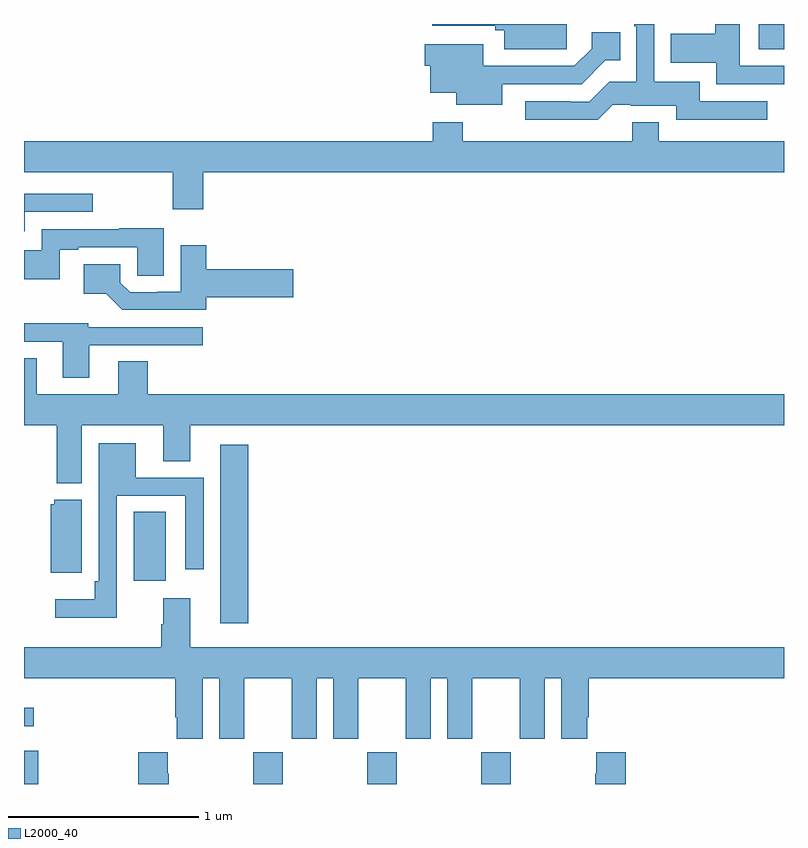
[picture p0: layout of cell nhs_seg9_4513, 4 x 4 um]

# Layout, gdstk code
import gdstk
lib = gdstk.Library(unit=1e-6, precision=1e-09)
def R(c, l, rs):  # rectangles x0, y0, x1, y1
    for r in rs: c.add(gdstk.rectangle(r[:2], r[2:], *l))
def A(c, l, x, y, w, h, nx, ny, dx, dy):  # array of equal rectangles
    R(c, l, [(x+i*dx, y+j*dy, x+i*dx+w, y+j*dy+h) for i in range(nx) for j in range(ny)])
def P(c, l, *ps):  # polygons
    for p in ps: c.add(gdstk.Polygon(p, *l))
L2000_40 = (2000, 40)

nhs_seg9_4513 = lib.new_cell('nhs_seg9_4513')
A(nhs_seg9_4513, L2000_40, 370.207, 1226.5, 0.155, 0.168, 3, 1, 0.6, 0)
R(nhs_seg9_4513, L2000_40, [(369,1226.5,369.074,1226.674), (369,1226.804,369.052,1226.902), (370.034,1227.345,370.181,1228.285), (369.578,1227.57,369.745,1227.932), (372.867,1230.368,373,1230.5)])
P(nhs_seg9_4513, L2000_40, [(372.099,1230.075),(372.193,1230.075),(372.193,1230.071),(372.434,1230.071),(372.434,1229.997),(372.913,1229.997),(372.913,1230.093),(372.556,1230.093),(372.556,1230.196),(372.318,1230.196),(372.318,1230.5),(372.212,1230.5),(372.212,1230.488),(372.222,1230.488),(372.222,1230.195),(372.081,1230.195),(371.976,1230.09),(371.876,1230.09),(371.876,1230.093),(371.637,1230.093),(371.637,1229.996),(372.02,1229.996)],
  [(371.857,1230.5),(371.148,1230.5),(371.148,1230.492),(371.481,1230.492),(371.481,1230.467),(371.528,1230.467),(371.528,1230.368),(371.857,1230.368)],
  [(373,1230.279),(372.766,1230.279),(372.766,1230.5),(372.637,1230.5),(372.637,1230.448),(372.403,1230.448),(372.403,1230.296),(372.644,1230.296),(372.644,1230.183),(373,1230.183)],
  [(371.518,1230.183),(371.935,1230.183),(372.06,1230.308),(372.137,1230.308),(372.137,1230.457),(371.987,1230.457),(371.987,1230.371),(371.895,1230.279),(371.416,1230.279),(371.416,1230.394),(371.108,1230.394),(371.108,1230.28),(371.138,1230.28),(371.138,1230.137),(371.276,1230.137),(371.276,1230.074),(371.518,1230.074)],
  [(369.944,1229.72),(373,1229.72),(373,1229.884),(372.34,1229.884),(372.34,1229.983),(372.2,1229.983),(372.2,1229.884),(371.31,1229.884),(371.31,1229.983),(371.15,1229.983),(371.15,1229.884),(369,1229.884),(369,1229.72),(369.784,1229.72),(369.784,1229.526),(369.944,1229.526)],
  [(369.004,1229.511),(369.361,1229.511),(369.361,1229.607),(369,1229.607),(369,1229.408),(369.004,1229.408)],
  [(369.189,1229.313),(369.286,1229.313),(369.286,1229.325),(369.597,1229.325),(369.597,1229.176),(369.736,1229.176),(369.736,1229.426),(369.5,1229.426),(369.5,1229.421),(369.093,1229.421),(369.093,1229.308),(369,1229.308),(369,1229.156),(369.189,1229.156)],
  [(369.959,1229.063),(370.417,1229.063),(370.417,1229.21),(369.959,1229.21),(369.959,1229.335),(369.824,1229.335),(369.824,1229.091),(369.7,1229.091),(369.7,1229.088),(369.558,1229.088),(369.507,1229.139),(369.507,1229.236),(369.315,1229.236),(369.315,1229.081),(369.432,1229.081),(369.518,1228.995),(369.959,1228.995)],
  [(369.343,1228.809),(369.94,1228.809),(369.94,1228.905),(369.339,1228.905),(369.339,1228.926),(369,1228.926),(369,1228.827),(369.203,1228.827),(369.203,1228.638),(369.343,1228.638)],
  [(369.304,1228.388),(369.734,1228.388),(369.734,1228.198),(369.874,1228.198),(369.874,1228.388),(373,1228.388),(373,1228.552),(369.65,1228.552),(369.65,1228.724),(369.497,1228.724),(369.497,1228.552),(369.067,1228.552),(369.067,1228.742),(369,1228.742),(369,1228.388),(369.173,1228.388),(369.173,1228.082),(369.304,1228.082)],
  [(369.489,1228.017),(369.849,1228.017),(369.849,1227.63),(369.945,1227.63),(369.945,1228.113),(369.589,1228.113),(369.589,1228.294),(369.393,1228.294),(369.393,1227.568),(369.373,1227.568),(369.373,1227.472),(369.165,1227.472),(369.165,1227.374),(369.489,1227.374)],
  [(369.304,1227.997),(369.159,1227.997),(369.159,1227.972),(369.14,1227.972),(369.14,1227.611),(369.304,1227.611)],
  [(369.94,1227.056),(370.028,1227.056),(370.028,1226.739),(370.159,1226.739),(370.159,1227.056),(370.409,1227.056),(370.409,1226.739),(370.54,1226.739),(370.54,1227.056),(370.628,1227.056),(370.628,1226.739),(370.759,1226.739),(370.759,1227.056),(371.009,1227.056),(371.009,1226.739),(371.14,1226.739),(371.14,1227.056),(371.228,1227.056),(371.228,1226.739),(371.359,1226.739),(371.359,1227.056),(371.609,1227.056),(371.609,1226.739),(371.74,1226.739),(371.74,1227.056),(371.828,1227.056),(371.828,1226.739),(371.965,1226.739),(371.965,1226.851),(371.972,1226.851),(371.972,1227.056),(373,1227.056),(373,1227.22),(369.874,1227.22),(369.874,1227.478),(369.734,1227.478),(369.734,1227.341),(369.722,1227.341),(369.722,1227.22),(369,1227.22),(369,1227.056),(369.797,1227.056),(369.797,1226.851),(369.803,1226.851),(369.803,1226.739),(369.94,1226.739)],
  [(369.762,1226.555),(369.757,1226.555),(369.757,1226.668),(369.602,1226.668),(369.602,1226.5),(369.762,1226.5)],
  [(372.167,1226.668),(372.011,1226.668),(372.011,1226.555),(372.007,1226.555),(372.007,1226.5),(372.167,1226.5)])

lib.write_gds('nhs_seg9_4513.gds')
